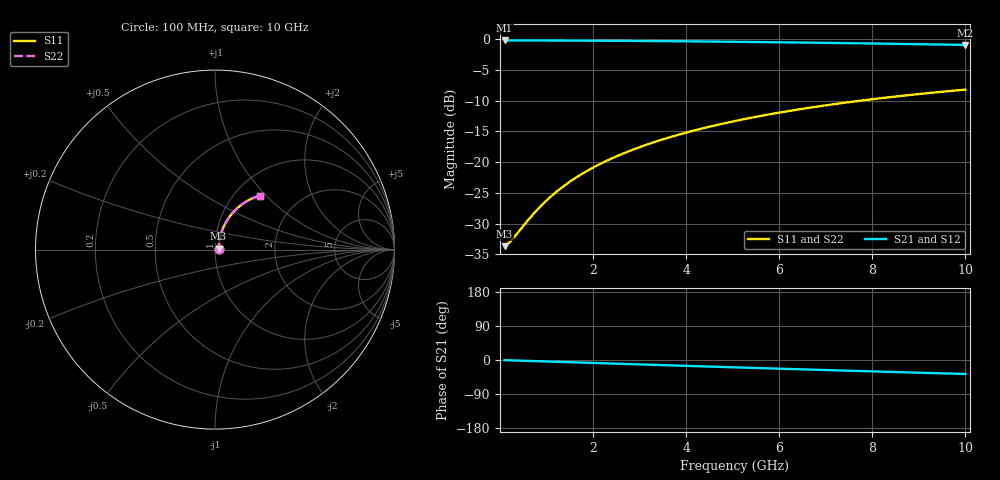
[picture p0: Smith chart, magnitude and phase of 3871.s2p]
# Hz S RI R 50.00
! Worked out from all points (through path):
!   100 points, 100 MHz to 10 GHz, reference 50 ohm
!   highest |S21| = -0.18 dB at 100 MHz (marker M1); lowest = -0.9 dB at 10 GHz (marker M2)
!   group delay of S21, straight-line fit = 10.3 ps
!   lowest |S11| = -33.7 dB at 100 MHz (marker M3), VSWR 1.04, Z = 52.1 + j0.446 ohm
!   |S11| at or under -10 dB: start of sweep to 7.729 GHz
!   |S22| runs from -33.7 to -8.2 dB; largest |S21 - S12| = 0
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1e8  0.0203 0.00428  0.9797 -0.00667  0.9797 -0.00667  0.0203 0.00428
2e8  0.0205 0.00857  0.9795 -0.0133  0.9795 -0.0133  0.0205 0.00857
3e8  0.0207 0.0128  0.9792 -0.02  0.9792 -0.02  0.0207 0.0128
7e8  0.0222 0.0299  0.9777 -0.0466  0.9777 -0.0466  0.0222 0.0299
8e8  0.0226 0.0342  0.9772 -0.0532  0.9772 -0.0532  0.0226 0.0342
1e9  0.0238 0.0426  0.9759 -0.0665  0.9759 -0.0665  0.0238 0.0426
1.2e9  0.0251 0.0511  0.9744 -0.0797  0.9744 -0.0797  0.0251 0.0511
1.4e9  0.0267 0.0594  0.9727 -0.0928  0.9727 -0.0928  0.0267 0.0594
1.6e9  0.0285 0.0678  0.9707 -0.1059  0.9707 -0.1059  0.0285 0.0678
1.8e9  0.0305 0.076  0.9685 -0.119  0.9685 -0.119  0.0305 0.076
2.1e9  0.0339 0.0883  0.9648 -0.1384  0.9648 -0.1384  0.0339 0.0883
2.5e9  0.0392 0.1044  0.9589 -0.164  0.9589 -0.164  0.0392 0.1044
2.9e9  0.0454 0.1201  0.9522 -0.1893  0.9522 -0.1893  0.0454 0.1201
3.4e9  0.0541 0.1391  0.9425 -0.2203  0.9425 -0.2203  0.0541 0.1391
3.8e9  0.062 0.1538  0.9337 -0.2446  0.9337 -0.2446  0.062 0.1538
4.2e9  0.0706 0.168  0.9242 -0.2684  0.9242 -0.2684  0.0706 0.168
5.1e9  0.0924 0.1979  0.8999 -0.3199  0.8999 -0.3199  0.0924 0.1979
5.9e9  0.1143 0.2218  0.8755 -0.363  0.8755 -0.363  0.1143 0.2218
6.7e9  0.1381 0.2429  0.8487 -0.4035  0.8487 -0.4035  0.1381 0.2429
7.5e9  0.1635 0.2613  0.8199 -0.4413  0.8199 -0.4413  0.1635 0.2613
8.4e9  0.1935 0.2785  0.7856 -0.4803  0.7856 -0.4803  0.1935 0.2785
1e10  0.249 0.3  0.7211 -0.541  0.7211 -0.541  0.249 0.3
